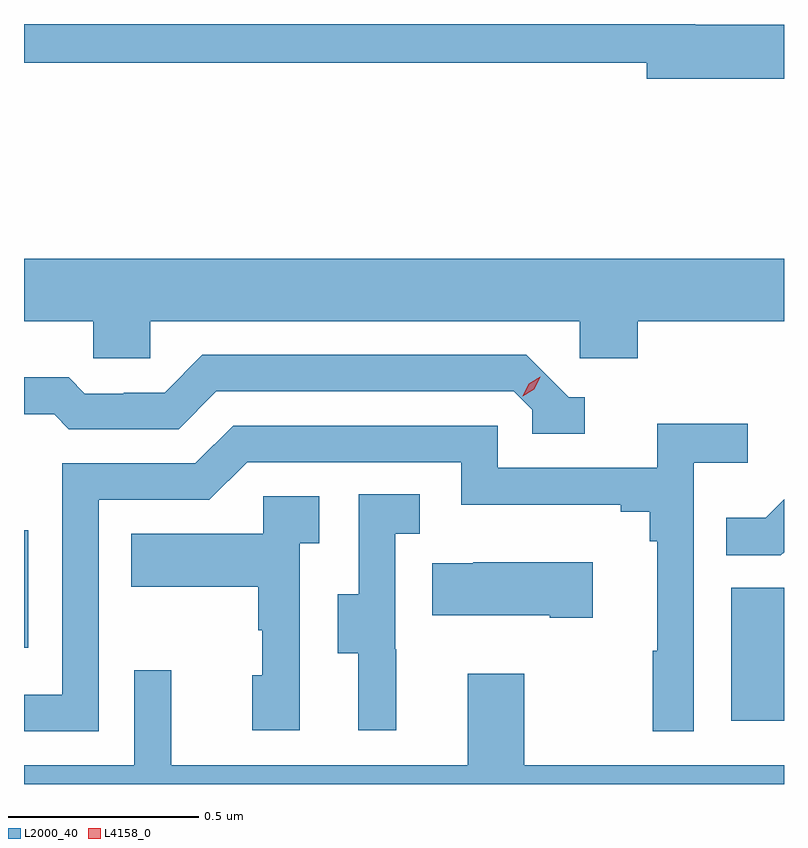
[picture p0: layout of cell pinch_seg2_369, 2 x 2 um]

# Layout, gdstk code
import gdstk
lib = gdstk.Library(unit=1e-6, precision=1e-09)
def R(c, l, rs):  # rectangles x0, y0, x1, y1
    for r in rs: c.add(gdstk.rectangle(r[:2], r[2:], *l))
def P(c, l, *ps):  # polygons
    for p in ps: c.add(gdstk.Polygon(p, *l))
L2000_40 = (2000, 40)
L4158_0 = (4158, 0)

pinch_seg2_369 = lib.new_cell('pinch_seg2_369')
R(pinch_seg2_369, L2000_40, [(1014.05,638.592,1014.189,638.943), (1012.189,638.784,1012.2,639.094)])
P(pinch_seg2_369, L2000_40, [(1014.189,640.424),(1013.956,640.424),(1013.956,640.426),(1012.189,640.426),(1012.189,640.324),(1013.828,640.324),(1013.828,640.282),(1014.189,640.282)],
  [(1012.521,639.644),(1013.652,639.644),(1013.652,639.546),(1013.804,639.546),(1013.804,639.644),(1014.189,639.644),(1014.189,639.808),(1012.189,639.808),(1012.189,639.644),(1012.371,639.644),(1012.371,639.546),(1012.521,639.546)],
  [(1013.665,639.444),(1013.622,639.444),(1013.511,639.555),(1012.658,639.555),(1012.559,639.456),(1012.452,639.456),(1012.452,639.453),(1012.349,639.453),(1012.307,639.496),(1012.189,639.496),(1012.189,639.399),(1012.268,639.399),(1012.307,639.36),(1012.596,639.36),(1012.695,639.459),(1013.478,639.459),(1013.526,639.411),(1013.526,639.348),(1013.665,639.348)],
  [(1012.386,639.174),(1012.677,639.174),(1012.776,639.273),(1013.34,639.273),(1013.34,639.161),(1013.759,639.161),(1013.759,639.142),(1013.836,639.142),(1013.836,639.065),(1013.855,639.065),(1013.855,638.777),(1013.844,638.777),(1013.844,638.565),(1013.952,638.565),(1013.952,639.272),(1014.094,639.272),(1014.094,639.374),(1013.855,639.374),(1013.855,639.258),(1013.436,639.258),(1013.436,639.369),(1012.739,639.369),(1012.64,639.27),(1012.29,639.27),(1012.29,638.661),(1012.189,638.661),(1012.189,638.565),(1012.386,638.565)],
  [(1013.168,638.781),(1013.166,638.781),(1013.166,639.085),(1013.23,639.085),(1013.23,639.188),(1013.07,639.188),(1013.07,638.925),(1013.015,638.925),(1013.015,638.77),(1013.069,638.77),(1013.069,638.568),(1013.168,638.568)],
  [(1012.914,639.059),(1012.966,639.059),(1012.966,639.183),(1012.818,639.183),(1012.818,639.085),(1012.471,639.085),(1012.471,638.945),(1012.806,638.945),(1012.806,638.831),(1012.816,638.831),(1012.816,638.712),(1012.79,638.712),(1012.79,638.568),(1012.914,638.568)],
  [(1014.189,639.036),(1014.189,639.175),(1014.141,639.127),(1014.037,639.127),(1014.037,639.028),(1014.181,639.028)],
  [(1013.686,639.01),(1013.371,639.01),(1013.371,639.007),(1013.263,639.007),(1013.263,638.87),(1013.573,638.87),(1013.573,638.863),(1013.686,638.863)],
  [(1014.189,638.476),(1013.505,638.476),(1013.505,638.716),(1013.357,638.716),(1013.357,638.476),(1012.577,638.476),(1012.577,638.725),(1012.479,638.725),(1012.479,638.476),(1012.189,638.476),(1012.189,638.426),(1014.189,638.426)])
P(pinch_seg2_369, L4158_0, [(1013.501,639.446),(1013.501,639.446),(1013.517,639.479),(1013.548,639.498),(1013.548,639.498),(1013.548,639.498),(1013.532,639.465),(1013.501,639.446)])

lib.write_gds('pinch_seg2_369.gds')
